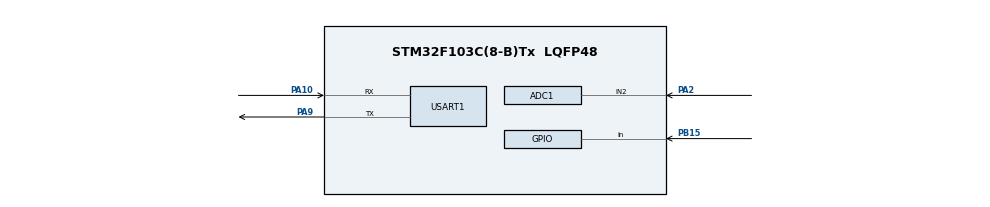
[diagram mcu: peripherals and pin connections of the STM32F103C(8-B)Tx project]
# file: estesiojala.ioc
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ADC1.Channel-0\#ChannelRegularConversion=ADC_CHANNEL_2
ADC1.ContinuousConvMode=ENABLE
ADC1.NbrOfConversionFlag=1
ADC1.Rank-0\#ChannelRegularConversion=1
ADC1.SamplingTime-0\#ChannelRegularConversion=ADC_SAMPLETIME_1CYCLE_5
ADC1.master=1
Mcu.Family=STM32F1
Mcu.Name=STM32F103C(8-B)Tx
Mcu.Package=LQFP48
NVIC.PriorityGroup=NVIC_PRIORITYGROUP_4
PA10.Mode=Asynchronous
PA10.Signal=USART1_RX
PA13.Mode=Serial_Wire
PA13.Signal=SYS_JTMS-SWDIO
PA14.Mode=Serial_Wire
PA14.Signal=SYS_JTCK-SWCLK
PA2.Signal=ADCx_IN2
PA9.Mode=Asynchronous
PA9.Signal=USART1_TX
PB15.Signal=GPIO_Input
ProjectManager.HeapSize=0x200
ProjectManager.StackSize=0x400
ProjectManager.TargetToolchain=STM32CubeIDE
RCC.APB1Freq_Value=8000000
RCC.APB2Freq_Value=8000000
SH.ADCx_IN2.0=ADC1_IN2,IN2
USART1.VirtualMode=VM_ASYNC
board=custom

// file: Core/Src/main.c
/* USER CODE BEGIN Header */
/**
  ******************************************************************************
  * @file           : main.c
  * @brief          : Main program body
  ******************************************************************************
  * @attention
  *
  * Copyright (c) 2022 STMicroelectronics.
  * All rights reserved.
  *
  * This software is licensed under terms that can be found in the LICENSE file
  * in the root directory of this software component.
  * If no LICENSE file comes with this software, it is provided AS-IS.
  *
  ******************************************************************************
  */
/* USER CODE END Header */
#include "main.h"

ADC_HandleTypeDef hadc1;

UART_HandleTypeDef huart1;

void SystemClock_Config(void);
static void MX_GPIO_Init(void);
static void MX_ADC1_Init(void);
static void MX_USART1_UART_Init(void);

int main(void)
{
  /* USER CODE BEGIN 1 */
	uint16_t sensor_data;
	uint16_t ARRAY[60];
	int A1=0;
	int A2=0;
	int A3=0;
	int A4=0;
	int N=4;
	int Vfilt=0;
	int D=0;
  /* USER CODE END 1 */

  /* MCU Configuration--------------------------------------------------------*/

  /* Reset of all peripherals, Initializes the Flash interface and the Systick. */
  HAL_Init();

  /* Configure the system clock */
  SystemClock_Config();

  /* Initialize all configured peripherals */
  MX_GPIO_Init();
  MX_ADC1_Init();
  MX_USART1_UART_Init();
  /* USER CODE BEGIN 2 */
  HAL_ADC_Start(&hadc1);
  /* USER CODE END 2 */

  /* Infinite loop */
  /* USER CODE BEGIN WHILE */
  while (1)
  {
	  HAL_ADC_PollForConversion(&hadc1, 10);
	  		sensor_data = HAL_ADC_GetValue(&hadc1);
	  		         A4=A3;
	  		         A3=A2;
	  		         A2=A1;
	  		         A1=sensor_data;
	  		         Vfilt=(A1+A2+A3+A4)/N;
if (HAL_GPIO_ReadPin(GPIOB, GPIO_PIN_15)) {
	D=1;
}
else {
	D=0;
}

	  	  sprintf(ARRAY, "se ha leido el valor %d, filtrado  %d, digital %d\r\n ", sensor_data, Vfilt,D);
	  	  HAL_UART_Transmit(&huart1, ARRAY, 60, 100);
	  	  HAL_Delay(1500);
  }

    /* USER CODE END WHILE */

  }

void SystemClock_Config(void)
{
  RCC_OscInitTypeDef RCC_OscInitStruct = {0};
  RCC_ClkInitTypeDef RCC_ClkInitStruct = {0};
  RCC_PeriphCLKInitTypeDef PeriphClkInit = {0};

  /** Initializes the RCC Oscillators according to the specified parameters
  * in the RCC_OscInitTypeDef structure.
  */
  RCC_OscInitStruct.OscillatorType = RCC_OSCILLATORTYPE_HSI;
  RCC_OscInitStruct.HSIState = RCC_HSI_ON;
  RCC_OscInitStruct.HSICalibrationValue = RCC_HSICALIBRATION_DEFAULT;
  RCC_OscInitStruct.PLL.PLLState = RCC_PLL_NONE;
  if (HAL_RCC_OscConfig(&RCC_OscInitStruct) != HAL_OK)
  {
    Error_Handler();
  }

  /** Initializes the CPU, AHB and APB buses clocks
  */
  RCC_ClkInitStruct.ClockType = RCC_CLOCKTYPE_HCLK|RCC_CLOCKTYPE_SYSCLK
                              |RCC_CLOCKTYPE_PCLK1|RCC_CLOCKTYPE_PCLK2;
  RCC_ClkInitStruct.SYSCLKSource = RCC_SYSCLKSOURCE_HSI;
  RCC_ClkInitStruct.AHBCLKDivider = RCC_SYSCLK_DIV1;
  RCC_ClkInitStruct.APB1CLKDivider = RCC_HCLK_DIV1;
  RCC_ClkInitStruct.APB2CLKDivider = RCC_HCLK_DIV1;

  if (HAL_RCC_ClockConfig(&RCC_ClkInitStruct, FLASH_LATENCY_0) != HAL_OK)
  {
    Error_Handler();
  }
  PeriphClkInit.PeriphClockSelection = RCC_PERIPHCLK_ADC;
  PeriphClkInit.AdcClockSelection = RCC_ADCPCLK2_DIV2;
  if (HAL_RCCEx_PeriphCLKConfig(&PeriphClkInit) != HAL_OK)
  {
    Error_Handler();
  }
}

static void MX_ADC1_Init(void)
{

  ADC_ChannelConfTypeDef sConfig = {0};

  /** Common config
  */
  hadc1.Instance = ADC1;
  hadc1.Init.ScanConvMode = ADC_SCAN_DISABLE;
  hadc1.Init.ContinuousConvMode = ENABLE;
  hadc1.Init.DiscontinuousConvMode = DISABLE;
  hadc1.Init.ExternalTrigConv = ADC_SOFTWARE_START;
  hadc1.Init.DataAlign = ADC_DATAALIGN_RIGHT;
  hadc1.Init.NbrOfConversion = 1;
  if (HAL_ADC_Init(&hadc1) != HAL_OK)
  {
    Error_Handler();
  }

  /** Configure Regular Channel
  */
  sConfig.Channel = ADC_CHANNEL_2;
  sConfig.Rank = ADC_REGULAR_RANK_1;
  sConfig.SamplingTime = ADC_SAMPLETIME_1CYCLE_5;
  if (HAL_ADC_ConfigChannel(&hadc1, &sConfig) != HAL_OK)
  {
    Error_Handler();
  }

}

static void MX_USART1_UART_Init(void)
{

  huart1.Instance = USART1;
  huart1.Init.BaudRate = 115200;
  huart1.Init.WordLength = UART_WORDLENGTH_8B;
  huart1.Init.StopBits = UART_STOPBITS_1;
  huart1.Init.Parity = UART_PARITY_NONE;
  huart1.Init.Mode = UART_MODE_TX_RX;
  huart1.Init.HwFlowCtl = UART_HWCONTROL_NONE;
  huart1.Init.OverSampling = UART_OVERSAMPLING_16;
  if (HAL_UART_Init(&huart1) != HAL_OK)
  {
    Error_Handler();
  }

}

static void MX_GPIO_Init(void)
{
  GPIO_InitTypeDef GPIO_InitStruct = {0};

  /* GPIO Ports Clock Enable */
  __HAL_RCC_GPIOA_CLK_ENABLE();
  __HAL_RCC_GPIOB_CLK_ENABLE();

  /*Configure GPIO pin : PB15 */
  GPIO_InitStruct.Pin = GPIO_PIN_15;
  GPIO_InitStruct.Mode = GPIO_MODE_INPUT;
  GPIO_InitStruct.Pull = GPIO_NOPULL;
  HAL_GPIO_Init(GPIOB, &GPIO_InitStruct);

}

void Error_Handler(void)
{
  __disable_irq();
  while (1)
  {
  }
}
